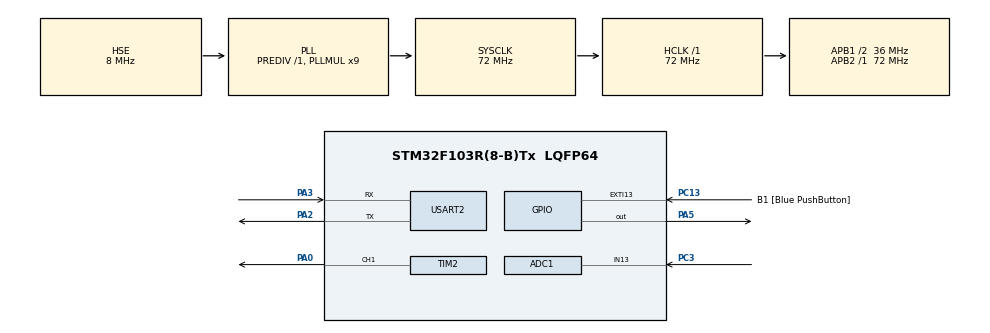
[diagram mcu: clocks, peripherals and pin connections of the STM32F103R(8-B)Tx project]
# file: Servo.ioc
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ADC1.Channel-10\#ChannelRegularConversion=ADC_CHANNEL_13
ADC1.ContinuousConvMode=ENABLE
ADC1.NbrOfConversionFlag=1
ADC1.Rank-10\#ChannelRegularConversion=1
ADC1.SamplingTime-10\#ChannelRegularConversion=ADC_SAMPLETIME_1CYCLE_5
ADC1.master=1
Dma.Request0=TIM2_CH1
Dma.TIM2_CH1.0.Direction=DMA_MEMORY_TO_PERIPH
Dma.TIM2_CH1.0.Instance=DMA1_Channel5
Dma.TIM2_CH1.0.MemDataAlignment=DMA_MDATAALIGN_HALFWORD
Dma.TIM2_CH1.0.MemInc=DMA_MINC_ENABLE
Dma.TIM2_CH1.0.Mode=DMA_NORMAL
Dma.TIM2_CH1.0.PeriphDataAlignment=DMA_PDATAALIGN_HALFWORD
Dma.TIM2_CH1.0.PeriphInc=DMA_PINC_DISABLE
Dma.TIM2_CH1.0.Priority=DMA_PRIORITY_LOW
Mcu.Family=STM32F1
Mcu.Name=STM32F103R(8-B)Tx
Mcu.Package=LQFP64
NVIC.DMA1_Channel5_IRQn=true\:0\:0\:false\:false\:true\:false\:true\:true
NVIC.EXTI15_10_IRQn=true\:0\:0\:false\:false\:true\:true\:true\:true
NVIC.PriorityGroup=NVIC_PRIORITYGROUP_4
NVIC.TIM2_IRQn=true\:0\:0\:false\:false\:true\:true\:true\:true
PA0-WKUP.Signal=S_TIM2_CH1_ETR
PA13.GPIO_Label=TMS
PA13.Mode=Serial_Wire
PA13.Signal=SYS_JTMS-SWDIO
PA14.Mode=Serial_Wire
PA14.Signal=SYS_JTCK-SWCLK
PA2.GPIO_Mode=GPIO_MODE_AF_PP
PA2.GPIO_PuPd=GPIO_NOPULL
PA2.GPIO_Speed=GPIO_SPEED_FREQ_HIGH
PA2.Mode=Asynchronous
PA2.Signal=USART2_TX
PA3.GPIO_Mode=GPIO_MODE_INPUT
PA3.GPIO_PuPd=GPIO_NOPULL
PA3.GPIO_Speed=GPIO_SPEED_FREQ_LOW
PA3.Mode=Asynchronous
PA3.Signal=USART2_RX
PA5.Signal=GPIO_Output
PB3.GPIO_Label=SWO
PB3.Signal=SYS_JTDO-TRACESWO
PC13-TAMPER-RTC.GPIO_Label=B1 [Blue PushButton]
PC13-TAMPER-RTC.GPIO_PuPd=GPIO_NOPULL
PC13-TAMPER-RTC.Signal=GPXTI13
PC14-OSC32_IN.Mode=LSE-External-Oscillator
PC14-OSC32_IN.Signal=RCC_OSC32_IN
PC15-OSC32_OUT.Mode=LSE-External-Oscillator
PC15-OSC32_OUT.Signal=RCC_OSC32_OUT
PC3.Signal=ADCx_IN13
PD0-OSC_IN.Mode=HSE-External-Oscillator
PD0-OSC_IN.Signal=RCC_OSC_IN
PD1-OSC_OUT.Mode=HSE-External-Oscillator
PD1-OSC_OUT.Signal=RCC_OSC_OUT
ProjectManager.HeapSize=0x200
ProjectManager.StackSize=0x400
ProjectManager.TargetToolchain=Makefile
RCC.ADCPresc=RCC_ADCPCLK2_DIV6
RCC.AHBFreq_Value=72000000
RCC.APB1CLKDivider=RCC_HCLK_DIV2
RCC.APB1Freq_Value=36000000
RCC.APB1TimFreq_Value=72000000
RCC.APB2Freq_Value=72000000
RCC.APB2TimFreq_Value=72000000
RCC.HCLKFreq_Value=72000000
RCC.PLLMUL=RCC_PLL_MUL9
RCC.PLLSourceVirtual=RCC_PLLSOURCE_HSE
RCC.RTCClockSelection=RCC_RTCCLKSOURCE_LSE
RCC.SYSCLKFreq_VALUE=72000000
RCC.SYSCLKSource=RCC_SYSCLKSOURCE_PLLCLK
RCC.USBFreq_Value=72000000
SH.ADCx_IN13.0=ADC1_IN13,IN13
SH.S_TIM2_CH1_ETR.0=TIM2_CH1,PWM Generation1 CH1
TIM2.Channel-Output\ Compare2\ No\ Output=TIM_CHANNEL_2
TIM2.Channel-PWM\ Generation1\ CH1=TIM_CHANNEL_1
TIM2.Period=20000-1
TIM2.Prescaler=72-1
USART2.VirtualMode=VM_ASYNC
VP_TIM2_VS_ClockSourceINT.Mode=Internal
VP_TIM2_VS_no_output2.Mode=Output Compare2 No Output
board=NUCLEO-F103RB

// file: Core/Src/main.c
/* USER CODE BEGIN Header */
/**
  ******************************************************************************
  * @file           : main.c
  * @brief          : Main program body
  ******************************************************************************
  * @attention
  *
  * Copyright (c) 2024 STMicroelectronics.
  * All rights reserved.
  *
  * This software is licensed under terms that can be found in the LICENSE file
  * in the root directory of this software component.
  * If no LICENSE file comes with this software, it is provided AS-IS.
  *
  ******************************************************************************
  */
/* USER CODE END Header */
#include "main.h"
#include "adc.h"
#include "dma.h"
#include "tim.h"
#include "usart.h"
#include "gpio.h"
#include <stdio.h>
#include <inttypes.h>
#include <string.h>

/* USER CODE BEGIN PD */

// Define constants for PWM pulse widths for the servo
 #define SERVO_MIN_PULSE_WIDTH 	1000 // 1ms pulse width (-60 degrees)
 #define SERVO_MAX_PULSE_WIDTH 2000  // 2ms pulse width (+60 degrees)
 #define SERVO_NEUTRAL_PULSE_WIDTH 1500 // 1.5ms pulse width (neutral position)
 #define SERVO_PERIOD 20000  // 20ms period for PWM signal
 #define FILTER_WINDOW_SIZE 3        // Size of the moving average window

/* USER CODE END PD */

void SystemClock_Config(void);

/* USER CODE BEGIN 0 */

uint16_t map(uint16_t value, uint16_t in_min, uint16_t in_max, uint16_t out_min, uint16_t out_max);
void set_servo_position(uint16_t pulse_width);
uint16_t read_potentiometer(void);

uint16_t moving_average_filter(uint16_t new_value);
uint16_t adc_buffer[FILTER_WINDOW_SIZE] = {0};  // Buffer to store ADC readings
uint8_t buffer_index = 0;                    // Index to keep track of current sample
uint32_t pot_value = 0;

uint32_t adc_to_millivolts(uint16_t adc_value);
void send_voltage_over_uart(uint32_t voltage);

/* USER CODE END 0 */

int main(void)
{

  /* MCU Configuration--------------------------------------------------------*/

  /* Reset of all peripherals, Initializes the Flash interface and the Systick. */
  HAL_Init();

  /* Configure the system clock */
  SystemClock_Config();

  /* Initialize all configured peripherals */
  MX_GPIO_Init();
  MX_DMA_Init();
  MX_TIM2_Init();
  MX_ADC1_Init();
  MX_USART2_UART_Init();
  /* USER CODE BEGIN 2 */

  // Start PWM on channel 1 of TIM2 (PA0)
  HAL_TIM_PWM_Start (&htim2, TIM_CHANNEL_1);
  HAL_ADC_Start (&hadc1);

  /* USER CODE END 2 */

  /* Infinite loop */
  while (1)
  {
// Read the potentiometer value
        HAL_GPIO_TogglePin(GPIOA, GPIO_PIN_5);

        uint16_t pot_value = read_potentiometer();

        // Apply moving average filter to smooth the ADC reading
        uint16_t filtered_value = moving_average_filter(pot_value);

        // Map the potentiometer value (0-4095) to the servo pulse width (1000-2000)
        uint16_t servo_pulse_width = map(filtered_value, 0, 4095, SERVO_MIN_PULSE_WIDTH, SERVO_MAX_PULSE_WIDTH);

        // Set the servo position based on the mapped pulse width
        set_servo_position(servo_pulse_width);

        uint32_t voltage = adc_to_millivolts(filtered_value);

        static uint32_t last_time = 0;
    if (HAL_GetTick() - last_time >= 1000)
    {
        last_time = HAL_GetTick();

        send_voltage_over_uart(voltage);
    }

    HAL_Delay(10);
  }
}

void SystemClock_Config(void)
{
  RCC_OscInitTypeDef RCC_OscInitStruct = {0};
  RCC_ClkInitTypeDef RCC_ClkInitStruct = {0};
  RCC_PeriphCLKInitTypeDef PeriphClkInit = {0};

  /** Initializes the RCC Oscillators according to the specified parameters
  * in the RCC_OscInitTypeDef structure.
  */
  RCC_OscInitStruct.OscillatorType = RCC_OSCILLATORTYPE_HSE;
  RCC_OscInitStruct.HSEState = RCC_HSE_ON;
  RCC_OscInitStruct.HSEPredivValue = RCC_HSE_PREDIV_DIV1;
  RCC_OscInitStruct.HSIState = RCC_HSI_ON;
  RCC_OscInitStruct.PLL.PLLState = RCC_PLL_ON;
  RCC_OscInitStruct.PLL.PLLSource = RCC_PLLSOURCE_HSE;
  RCC_OscInitStruct.PLL.PLLMUL = RCC_PLL_MUL9;
  if (HAL_RCC_OscConfig(&RCC_OscInitStruct) != HAL_OK)
  {
    Error_Handler();
  }

  /** Initializes the CPU, AHB and APB buses clocks
  */
  RCC_ClkInitStruct.ClockType = RCC_CLOCKTYPE_HCLK|RCC_CLOCKTYPE_SYSCLK
                              |RCC_CLOCKTYPE_PCLK1|RCC_CLOCKTYPE_PCLK2;
  RCC_ClkInitStruct.SYSCLKSource = RCC_SYSCLKSOURCE_PLLCLK;
  RCC_ClkInitStruct.AHBCLKDivider = RCC_SYSCLK_DIV1;
  RCC_ClkInitStruct.APB1CLKDivider = RCC_HCLK_DIV2;
  RCC_ClkInitStruct.APB2CLKDivider = RCC_HCLK_DIV1;

  if (HAL_RCC_ClockConfig(&RCC_ClkInitStruct, FLASH_LATENCY_2) != HAL_OK)
  {
    Error_Handler();
  }
  PeriphClkInit.PeriphClockSelection = RCC_PERIPHCLK_ADC;
  PeriphClkInit.AdcClockSelection = RCC_ADCPCLK2_DIV6;
  if (HAL_RCCEx_PeriphCLKConfig(&PeriphClkInit) != HAL_OK)
  {
    Error_Handler();
  }
}

/* USER CODE BEGIN 4 */

// Function to map the potentiometer ADC value to servo pulse width
uint16_t map(uint16_t value, uint16_t in_min, uint16_t in_max, uint16_t out_min, uint16_t out_max)
{
    return (value - in_min) * (out_max - out_min) / (in_max - in_min) + out_min;
}

// Function to set the PWM duty cycle for the servo (servo position)
void set_servo_position(uint16_t pulse_width)
{
    // Set the PWM compare value (CCR) to control the pulse width
    __HAL_TIM_SET_COMPARE(&htim2, TIM_CHANNEL_1, pulse_width);
}

// Function to read the potentiometer value using ADC
uint16_t read_potentiometer(void)
{
    HAL_ADC_Start(&hadc1);
    HAL_ADC_PollForConversion(&hadc1, HAL_MAX_DELAY);  // Wait for ADC conversion
    HAL_ADC_GetValue(&hadc1);  // Get ADC value (0-4095)
    uint16_t pot_value = HAL_ADC_GetValue(&hadc1);
    HAL_ADC_Stop(&hadc1);
    return pot_value;
}

// Function to implement a moving average filter
uint16_t moving_average_filter(uint16_t new_value)
{
    static uint32_t sum = 0;  // Keep track of the sum of the buffer values

    // Subtract the oldest value from the sum
    sum -= adc_buffer[buffer_index];

    // Add the new value to the buffer and to the sum
    adc_buffer[buffer_index] = new_value;
    sum += new_value;

    // Increment the buffer index and wrap around if necessary
    buffer_index = (buffer_index + 1) % FILTER_WINDOW_SIZE;

    // Return the average of the buffer values
    return (uint16_t)(sum / FILTER_WINDOW_SIZE);
}

// Function to convert ADC value to millivolts
uint32_t adc_to_millivolts(uint16_t adc_value)
{
    // Vref is assumed to be 3.3V (3300 mV), and ADC resolution is 12 bits (0-4095)
    return (uint32_t)(adc_value * 3300 / 4095);
}

void uint32_to_str(uint32_t num, char* str) {
    char temp[12];  // Временный буфер для числа (максимум 10 цифр для uint32_t + знак конца строки)
    int i = 0;

    // Обработка числа
    do {
        temp[i++] = (num % 10) + '0';  // Берем последнюю цифру числа и превращаем ее в символ
        num /= 10;  // Убираем последнюю цифру
    } while (num > 0);

    // Развернем строку, так как цифры в temp идут в обратном порядке
    int j = 0;
    while (i > 0) {
        str[j++] = temp[--i];  // Копируем цифры в правильном порядке
    }

    str[j] = ' ';  // Завершаем строку нулевым символом
}

// Function to send voltage over UART in millivolts
void send_voltage_over_uart(uint32_t voltage)
{

  char buffer[50] = "Voltage: ";
  char endstr[4] =  "mV\n\0";
  char num[12];

  uint32_to_str(voltage, num);

  strcat(buffer, num);
  strcat(buffer, endstr);

  HAL_UART_Transmit(&huart2, (uint8_t *)buffer, sizeof(buffer) - 1, 1000);

    /*char buffer[50];  // Make sure this is large enough
    int len = snprintf(buffer, sizeof(buffer), "ADC Voltage: %lu mV\r\n", voltage);*/
    // Debug: Check if snprintf is working
     //HAL_UART_Transmit(&huart2, (uint8_t *)"Entering send_voltage_over_uart\r\n", 34, 1000);
    /*if (len < 0)
    {
        // Handle snprintf error
        char *error_msg = "snprintf error\r\n";
        HAL_UART_Transmit(&huart2, (uint8_t *)error_msg, strlen(error_msg), 1000);
        return;
    }

    if (len >= sizeof(buffer))
    {
        // Output was truncated; adjust len to avoid sending garbage
        len = sizeof(buffer) - 1;
    }

    // Send the formatted string over UART
    HAL_UART_Transmit(&huart2, (uint8_t *)buffer, len, 1000);*/
    // Debug: Confirm successful transmission
    //HAL_UART_Transmit(&huart2, (uint8_t *)"Exiting send_voltage_over_uart\r\n", 32, 1000);
}

/* USER CODE END 4 */

void Error_Handler(void)
{
  __disable_irq();
  while (1)
  {
  }
}
